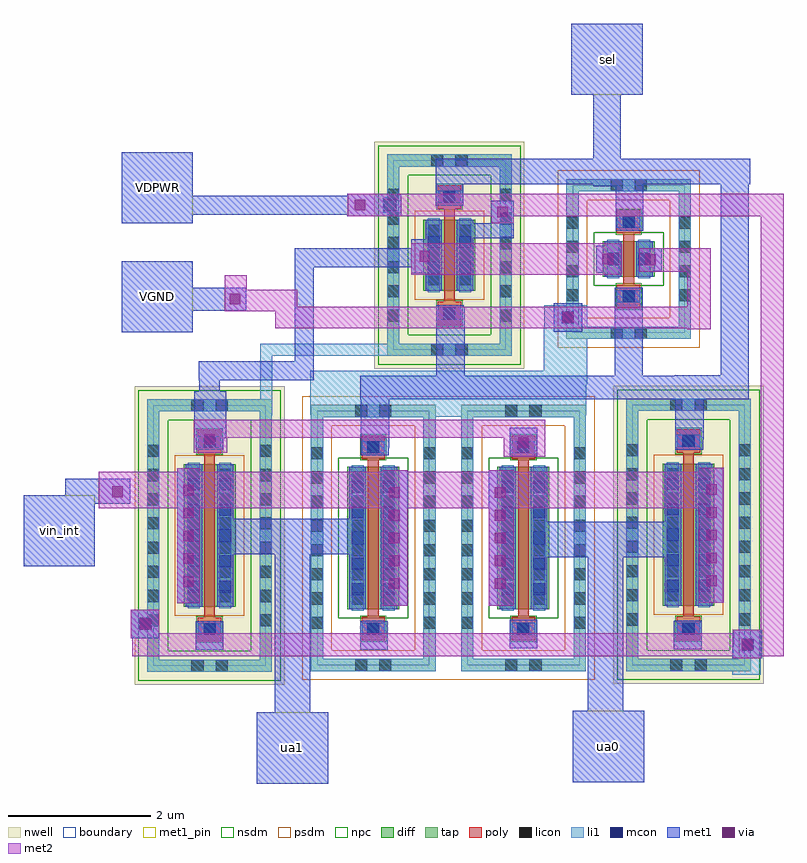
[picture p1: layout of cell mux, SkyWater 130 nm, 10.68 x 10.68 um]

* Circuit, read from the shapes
.subckt mux VDPWR VGND sel ua0 ua1 vin_int
XM1 vin_int sel ua1 VGND sky130_fd_pr__nfet_01v8 w=2 l=0.15
XM2 ua0 sky130_fd_pr__nfet_01v8_744KQH_3/D vin_int VGND sky130_fd_pr__nfet_01v8 w=2 l=0.15
XM3 VGND sel sky130_fd_pr__nfet_01v8_744KQH_3/D VGND sky130_fd_pr__nfet_01v8 w=0.5 l=0.15
XM4 ua1 sky130_fd_pr__nfet_01v8_744KQH_3/D vin_int VDPWR sky130_fd_pr__pfet_01v8 w=2 l=0.15
XM5 VDPWR sel sky130_fd_pr__nfet_01v8_744KQH_3/D VDPWR sky130_fd_pr__pfet_01v8 w=1 l=0.15
XM6 vin_int sel ua0 VDPWR sky130_fd_pr__pfet_01v8 w=2 l=0.15
.ends

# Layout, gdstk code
from math import pi, radians
import gdstk
lib = gdstk.Library(unit=1e-6, precision=1e-09)
def R(c, l, rs):  # rectangles x0, y0, x1, y1
    for r in rs: c.add(gdstk.rectangle(r[:2], r[2:], *l))
def A(c, l, x, y, w, h, nx, ny, dx, dy):  # array of equal rectangles
    R(c, l, [(x+i*dx, y+j*dy, x+i*dx+w, y+j*dy+h) for i in range(nx) for j in range(ny)])
nwell = (64, 20)
diff = (65, 20)
tap = (65, 44)
poly = (66, 20)
licon = (66, 44)
li1 = (67, 20)
mcon = (67, 44)
met1_pin = (68, 16)
met1 = (68, 20)
via = (68, 44)
met2 = (69, 20)
nsdm = (93, 44)
psdm = (94, 20)
npc = (95, 20)
boundary = (235, 4)

sky130_fd_pr__pfet_01v8_ = lib.new_cell('sky130_fd_pr__pfet_01v8_MF9HY2')
R(sky130_fd_pr__pfet_01v8_, nwell, [(-1.055,-1.595,1.055,1.595)])
R(sky130_fd_pr__pfet_01v8_, diff, [(-0.365,-0.5,0.365,0.5)])
R(sky130_fd_pr__pfet_01v8_, tap, [(-0.875,-1.415,0.875,-1.245), (-0.875,-1.245,-0.705,1.245), (0.705,-1.245,0.875,1.245), (-0.875,1.245,0.875,1.415)])
R(sky130_fd_pr__pfet_01v8_, poly, [(-0.165,-0.985,0.165,-0.655), (-0.075,-0.655,0.075,0.655), (-0.165,0.655,0.165,0.985)])
A(sky130_fd_pr__pfet_01v8_, licon, -0.875, -0.935, 0.17, 0.17, 1, 6, 0, 0.34)
A(sky130_fd_pr__pfet_01v8_, licon, 0.705, -0.935, 0.17, 0.17, 1, 6, 0, 0.34)
A(sky130_fd_pr__pfet_01v8_, licon, -0.305, -0.425, 0.17, 0.17, 1, 3, 0, 0.34)
A(sky130_fd_pr__pfet_01v8_, licon, 0.135, -0.425, 0.17, 0.17, 1, 3, 0, 0.34)
R(sky130_fd_pr__pfet_01v8_, licon, [(-0.255,-1.415,-0.085,-1.245), (0.085,-1.415,0.255,-1.245), (-0.085,-0.905,0.085,-0.735), (-0.085,0.735,0.085,0.905), (-0.255,1.245,-0.085,1.415), (0.085,1.245,0.255,1.415)])
R(sky130_fd_pr__pfet_01v8_, li1, [(-0.875,-1.415,0.875,-1.245), (-0.875,-1.245,-0.705,1.245), (0.705,-1.245,0.875,1.245), (-0.165,-0.905,0.165,-0.735), (-0.305,-0.52,-0.135,0.52), (0.135,-0.52,0.305,0.52), (-0.165,0.735,0.165,0.905), (-0.875,1.245,0.875,1.415)])
R(sky130_fd_pr__pfet_01v8_, mcon, [(-0.085,-0.905,0.085,-0.735), (-0.305,-0.265,-0.135,-0.095), (0.135,-0.265,0.305,-0.095), (-0.305,0.095,-0.135,0.265), (0.135,0.095,0.305,0.265), (-0.085,0.735,0.085,0.905)])
R(sky130_fd_pr__pfet_01v8_, met1, [(-0.145,-0.935,0.145,-0.705), (-0.335,-0.5,-0.105,0.5), (0.105,-0.5,0.335,0.5), (-0.145,0.705,0.145,0.935)])
R(sky130_fd_pr__pfet_01v8_, nsdm, [(-1,-1.54,1,-1.12), (-1,-1.12,-0.58,1.12), (0.58,-1.12,1,1.12), (-1,1.12,1,1.54)])
R(sky130_fd_pr__pfet_01v8_, psdm, [(-0.49,-0.625,0.49,0.625)])
R(sky130_fd_pr__pfet_01v8_, npc, [(-0.185,-1.005,0.185,-0.635), (-0.185,0.635,0.185,1.005)])
R(sky130_fd_pr__pfet_01v8_, boundary, [(-0.79,-1.33,0.79,1.33)])
sky130_fd_pr__pfet_01v8_.add(gdstk.Label('B', (0,-1.33), layer=67, texttype=5))
sky130_fd_pr__pfet_01v8_.add(gdstk.Label('D', (-0.22,0), layer=67, texttype=5))
sky130_fd_pr__pfet_01v8_.add(gdstk.Label('S', (0.22,0), layer=67, texttype=5))
sky130_fd_pr__pfet_01v8_.add(gdstk.Label('G', (0,0.82), layer=67, texttype=5))

c_sky130_fd_pr__pfet_01v8_ = lib.new_cell('sky130_fd_pr__pfet_01v8_2HL26M')
R(c_sky130_fd_pr__pfet_01v8_, nwell, [(-1.055,-2.095,1.055,2.095)])
R(c_sky130_fd_pr__pfet_01v8_, diff, [(-0.365,-1,0.365,1)])
R(c_sky130_fd_pr__pfet_01v8_, tap, [(-0.875,-1.915,0.875,-1.745), (-0.875,-1.745,-0.705,1.745), (0.705,-1.745,0.875,1.745), (-0.875,1.745,0.875,1.915)])
R(c_sky130_fd_pr__pfet_01v8_, poly, [(-0.165,-1.485,0.165,-1.155), (-0.075,-1.155,0.075,1.155), (-0.165,1.155,0.165,1.485)])
A(c_sky130_fd_pr__pfet_01v8_, licon, -0.875, -1.275, 0.17, 0.17, 1, 8, 0, 0.34)
A(c_sky130_fd_pr__pfet_01v8_, licon, 0.705, -1.275, 0.17, 0.17, 1, 8, 0, 0.34)
A(c_sky130_fd_pr__pfet_01v8_, licon, -0.305, -0.935, 0.17, 0.17, 1, 6, 0, 0.34)
A(c_sky130_fd_pr__pfet_01v8_, licon, 0.135, -0.935, 0.17, 0.17, 1, 6, 0, 0.34)
R(c_sky130_fd_pr__pfet_01v8_, licon, [(-0.255,-1.915,-0.085,-1.745), (0.085,-1.915,0.255,-1.745), (-0.085,-1.405,0.085,-1.235), (-0.085,1.235,0.085,1.405), (-0.255,1.745,-0.085,1.915), (0.085,1.745,0.255,1.915)])
R(c_sky130_fd_pr__pfet_01v8_, li1, [(-0.875,-1.915,0.875,-1.745), (-0.875,-1.745,-0.705,1.745), (0.705,-1.745,0.875,1.745), (-0.165,-1.405,0.165,-1.235), (-0.305,-1.02,-0.135,1.02), (0.135,-1.02,0.305,1.02), (-0.165,1.235,0.165,1.405), (-0.875,1.745,0.875,1.915)])
A(c_sky130_fd_pr__pfet_01v8_, mcon, -0.305, -0.805, 0.17, 0.17, 1, 5, 0, 0.36)
A(c_sky130_fd_pr__pfet_01v8_, mcon, 0.135, -0.805, 0.17, 0.17, 1, 5, 0, 0.36)
R(c_sky130_fd_pr__pfet_01v8_, mcon, [(-0.085,-1.405,0.085,-1.235), (-0.085,1.235,0.085,1.405)])
R(c_sky130_fd_pr__pfet_01v8_, met1, [(-0.145,-1.435,0.145,-1.205), (-0.335,-1,-0.105,1), (0.105,-1,0.335,1), (-0.145,1.205,0.145,1.435)])
R(c_sky130_fd_pr__pfet_01v8_, nsdm, [(-1,-2.04,1,-1.62), (-1,-1.62,-0.58,1.62), (0.58,-1.62,1,1.62), (-1,1.62,1,2.04)])
R(c_sky130_fd_pr__pfet_01v8_, psdm, [(-0.49,-1.125,0.49,1.125)])
R(c_sky130_fd_pr__pfet_01v8_, npc, [(-0.185,-1.505,0.185,-1.135), (-0.185,1.135,0.185,1.505)])
R(c_sky130_fd_pr__pfet_01v8_, boundary, [(-0.79,-1.83,0.79,1.83)])
c_sky130_fd_pr__pfet_01v8_.add(gdstk.Label('B', (0,-1.83), layer=67, texttype=5))
c_sky130_fd_pr__pfet_01v8_.add(gdstk.Label('D', (-0.22,0), layer=67, texttype=5))
c_sky130_fd_pr__pfet_01v8_.add(gdstk.Label('S', (0.22,0), layer=67, texttype=5))
c_sky130_fd_pr__pfet_01v8_.add(gdstk.Label('G', (0,1.32), layer=67, texttype=5))

sky130_fd_pr__nfet_01v8_ = lib.new_cell('sky130_fd_pr__nfet_01v8_744KQH')
R(sky130_fd_pr__nfet_01v8_, diff, [(-0.365,-0.25,0.365,0.25)])
R(sky130_fd_pr__nfet_01v8_, tap, [(-0.875,-1.12,0.875,-0.95), (-0.875,-0.95,-0.705,0.95), (0.705,-0.95,0.875,0.95), (-0.875,0.95,0.875,1.12)])
R(sky130_fd_pr__nfet_01v8_, poly, [(-0.165,-0.69,0.165,-0.36), (-0.075,-0.36,0.075,0.36), (-0.165,0.36,0.165,0.69)])
A(sky130_fd_pr__nfet_01v8_, licon, -0.875, -0.595, 0.17, 0.17, 1, 4, 0, 0.34)
A(sky130_fd_pr__nfet_01v8_, licon, 0.705, -0.595, 0.17, 0.17, 1, 4, 0, 0.34)
R(sky130_fd_pr__nfet_01v8_, licon, [(-0.255,-1.12,-0.085,-0.95), (0.085,-1.12,0.255,-0.95), (-0.085,-0.61,0.085,-0.44), (-0.305,-0.085,-0.135,0.085), (0.135,-0.085,0.305,0.085), (-0.085,0.44,0.085,0.61), (-0.255,0.95,-0.085,1.12), (0.085,0.95,0.255,1.12)])
R(sky130_fd_pr__nfet_01v8_, li1, [(-0.875,-1.12,0.875,-0.95), (-0.875,-0.95,-0.705,0.95), (0.705,-0.95,0.875,0.95), (-0.165,-0.61,0.165,-0.44), (-0.305,-0.27,-0.135,0.27), (0.135,-0.27,0.305,0.27), (-0.165,0.44,0.165,0.61), (-0.875,0.95,0.875,1.12)])
R(sky130_fd_pr__nfet_01v8_, mcon, [(-0.085,-0.61,0.085,-0.44), (-0.305,-0.085,-0.135,0.085), (0.135,-0.085,0.305,0.085), (-0.085,0.44,0.085,0.61)])
R(sky130_fd_pr__nfet_01v8_, met1, [(-0.145,-0.64,0.145,-0.41), (-0.335,-0.25,-0.105,0.25), (0.105,-0.25,0.335,0.25), (-0.145,0.41,0.145,0.64)])
R(sky130_fd_pr__nfet_01v8_, nsdm, [(-0.49,-0.375,0.49,0.375)])
R(sky130_fd_pr__nfet_01v8_, psdm, [(-1,-1.245,1,-0.825), (-1,-0.825,-0.58,0.825), (0.58,-0.825,1,0.825), (-1,0.825,1,1.245)])
R(sky130_fd_pr__nfet_01v8_, npc, [(-0.185,-0.71,0.185,-0.34), (-0.185,0.34,0.185,0.71)])
R(sky130_fd_pr__nfet_01v8_, boundary, [(-0.79,-1.035,0.79,1.035)])
sky130_fd_pr__nfet_01v8_.add(gdstk.Label('B', (0,-1.035), layer=67, texttype=5))
sky130_fd_pr__nfet_01v8_.add(gdstk.Label('D', (-0.22,0), layer=67, texttype=5))
sky130_fd_pr__nfet_01v8_.add(gdstk.Label('S', (0.22,0), layer=67, texttype=5))
sky130_fd_pr__nfet_01v8_.add(gdstk.Label('G', (0,0.525), layer=67, texttype=5))

c_sky130_fd_pr__nfet_01v8_ = lib.new_cell('sky130_fd_pr__nfet_01v8_V4D2ZP')
R(c_sky130_fd_pr__nfet_01v8_, diff, [(-0.365,-1,0.365,1)])
R(c_sky130_fd_pr__nfet_01v8_, tap, [(-0.875,-1.87,0.875,-1.7), (-0.875,-1.7,-0.705,1.7), (0.705,-1.7,0.875,1.7), (-0.875,1.7,0.875,1.87)])
R(c_sky130_fd_pr__nfet_01v8_, poly, [(-0.165,-1.44,0.165,-1.11), (-0.075,-1.11,0.075,1.11), (-0.165,1.11,0.165,1.44)])
A(c_sky130_fd_pr__nfet_01v8_, licon, -0.875, -1.275, 0.17, 0.17, 1, 8, 0, 0.34)
A(c_sky130_fd_pr__nfet_01v8_, licon, 0.705, -1.275, 0.17, 0.17, 1, 8, 0, 0.34)
A(c_sky130_fd_pr__nfet_01v8_, licon, -0.305, -0.935, 0.17, 0.17, 1, 6, 0, 0.34)
A(c_sky130_fd_pr__nfet_01v8_, licon, 0.135, -0.935, 0.17, 0.17, 1, 6, 0, 0.34)
R(c_sky130_fd_pr__nfet_01v8_, licon, [(-0.255,-1.87,-0.085,-1.7), (0.085,-1.87,0.255,-1.7), (-0.085,-1.36,0.085,-1.19), (-0.085,1.19,0.085,1.36), (-0.255,1.7,-0.085,1.87), (0.085,1.7,0.255,1.87)])
R(c_sky130_fd_pr__nfet_01v8_, li1, [(-0.875,-1.87,0.875,-1.7), (-0.875,-1.7,-0.705,1.7), (0.705,-1.7,0.875,1.7), (-0.165,-1.36,0.165,-1.19), (-0.305,-1.02,-0.135,1.02), (0.135,-1.02,0.305,1.02), (-0.165,1.19,0.165,1.36), (-0.875,1.7,0.875,1.87)])
A(c_sky130_fd_pr__nfet_01v8_, mcon, -0.305, -0.805, 0.17, 0.17, 1, 5, 0, 0.36)
A(c_sky130_fd_pr__nfet_01v8_, mcon, 0.135, -0.805, 0.17, 0.17, 1, 5, 0, 0.36)
R(c_sky130_fd_pr__nfet_01v8_, mcon, [(-0.085,-1.36,0.085,-1.19), (-0.085,1.19,0.085,1.36)])
R(c_sky130_fd_pr__nfet_01v8_, met1, [(-0.145,-1.39,0.145,-1.16), (-0.335,-1,-0.105,1), (0.105,-1,0.335,1), (-0.145,1.16,0.145,1.39)])
R(c_sky130_fd_pr__nfet_01v8_, nsdm, [(-0.49,-1.125,0.49,1.125)])
R(c_sky130_fd_pr__nfet_01v8_, psdm, [(-1,-1.995,1,-1.575), (-1,-1.575,-0.58,1.575), (0.58,-1.575,1,1.575), (-1,1.575,1,1.995)])
R(c_sky130_fd_pr__nfet_01v8_, npc, [(-0.185,-1.46,0.185,-1.09), (-0.185,1.09,0.185,1.46)])
R(c_sky130_fd_pr__nfet_01v8_, boundary, [(-0.79,-1.785,0.79,1.785)])
c_sky130_fd_pr__nfet_01v8_.add(gdstk.Label('B', (0,-1.785), layer=67, texttype=5))
c_sky130_fd_pr__nfet_01v8_.add(gdstk.Label('D', (-0.22,0), layer=67, texttype=5))
c_sky130_fd_pr__nfet_01v8_.add(gdstk.Label('S', (0.22,0), layer=67, texttype=5))
c_sky130_fd_pr__nfet_01v8_.add(gdstk.Label('G', (0,1.275), layer=67, texttype=5))

mux = lib.new_cell('mux')
R(mux, li1, [(19.29,-20.47,19.69,-20.24), (19.29,-20.24,19.71,-20.07), (19.31,-20.07,19.71,-19.84), (10.84,-19.96,11.24,-19.56), (14.795,-16.845,17.155,-16.82), (12.655,-16.825,12.825,-15.99), (13.36,-16.82,17.24,-16.39), (19.37,-16.76,19.425,-16.6), (13.36,-16.39,17.25,-16.2), (16.64,-16.2,17.25,-15.59), (12.655,-15.99,14.615,-15.82), (16.65,-15.59,17.25,-15.28), (14.38,-13.98,14.58,-13.76)])
R(mux, mcon, [(19.42,-20.135,19.59,-19.965), (10.96,-19.84,11.13,-19.67), (16.895,-15.535,17.065,-15.365), (14.395,-13.955,14.565,-13.785)])
R(mux, met1_pin, [(12.61,-22,13.61,-21), (17.05,-21.98,18.05,-20.98), (9.33,-18.95,10.33,-17.95), (10.71,-15.66,11.71,-14.66), (10.71,-14.13,11.71,-13.13), (17.03,-12.32,18.03,-11.32)])
R(mux, met1, [(12.61,-22,13.61,-21), (17.05,-21.98,18.05,-20.98), (12.86,-21,13.36,-18.78), (17.26,-20.98,17.76,-18.82), (19.3,-20.24,19.7,-19.84), (11.75,-20.12,12.14,-19.72), (14.06,-20.12,14.45,-19.72), (18.47,-20.11,18.86,-19.71), (16.16,-20.1,16.55,-19.7), (10.84,-19.96,11.24,-19.56), (14.38,-19.5,14.73,-17.6), (15.87,-19.5,16.22,-17.6), (11.49,-19.47,11.81,-17.57), (18.82,-19.46,19.17,-17.56), (9.33,-18.95,10.33,-18.07), (16.62,-18.82,18.44,-18.32), (12.09,-18.78,13.99,-18.28), (9.33,-18.07,10.83,-17.95), (9.92,-17.95,10.83,-17.72), (16.16,-17.4,16.55,-17), (14.07,-17.39,14.46,-17.28), (11.75,-17.31,12.14,-17.15), (18.49,-17.31,18.88,-17.16), (14.07,-17.28,14.47,-16.6), (18.49,-17.16,18.89,-16.6), (11.73,-17.15,12.18,-16.49), (14.06,-16.6,19.52,-16.27), (11.8,-16.49,12.085,-16.335), (11.795,-16.335,13.41,-16.065), (15.13,-16.27,15.53,-15.31), (17.64,-16.27,18.03,-15.03), (18.48,-16.27,19.52,-16.26), (19.13,-16.26,19.52,-13.58), (13.14,-16.065,13.41,-14.745), (10.71,-15.66,11.71,-15.36), (16.78,-15.65,17.18,-15.25), (10.71,-15.36,12.46,-15.03), (15.13,-15.31,15.52,-15.28), (10.71,-15.03,11.71,-14.66), (14.78,-14.83,15.03,-14.75), (17.38,-14.82,17.7,-14.44), (17.98,-14.8,18.3,-14.48), (14.78,-14.75,15.1,-14.745), (13.14,-14.745,15.1,-14.475), (14.78,-14.475,15.1,-14.43), (14.78,-14.43,15.03,-14.35), (15.45,-14.34,16.22,-14.13), (17.65,-14.23,18.04,-13.61), (10.71,-14.13,11.71,-14.01), (15.9,-14.13,16.22,-13.81), (13.88,-14.03,14.64,-14.01), (10.71,-14.01,14.64,-13.74), (15.12,-13.88,15.51,-13.58), (10.71,-13.74,11.71,-13.13), (13.88,-13.74,14.64,-13.71), (17.335,-13.61,18.04,-13.58), (15.12,-13.58,19.54,-13.22), (17.335,-13.22,17.725,-12.32), (17.03,-12.32,18.03,-11.32)])
A(mux, via, 14.465, -19.265, 0.15, 0.15, 1, 5, 0, 0.32)
A(mux, via, 15.955, -19.265, 0.15, 0.15, 1, 5, 0, 0.32)
A(mux, via, 11.575, -19.235, 0.15, 0.15, 1, 5, 0, 0.32)
A(mux, via, 18.925, -19.225, 0.15, 0.15, 1, 5, 0, 0.32)
R(mux, via, [(19.425,-20.12,19.575,-19.97), (10.97,-19.83,11.12,-19.68), (10.575,-17.975,10.725,-17.825), (16.28,-17.285,16.43,-17.135), (11.87,-17.235,12.02,-17.085), (16.905,-15.525,17.055,-15.375), (12.225,-15.265,12.375,-15.115), (18.065,-14.715,18.215,-14.565), (17.465,-14.705,17.615,-14.555), (14.895,-14.665,15.045,-14.515), (15.985,-14.045,16.135,-13.895), (13.985,-13.945,14.135,-13.795)])
R(mux, met2, [(19.3,-20.24,19.7,-20.21), (10.86,-20.21,20.01,-19.96), (10.84,-19.96,20.01,-19.89), (10.84,-19.89,11.24,-19.56), (19.3,-19.89,20.01,-19.84), (19.69,-19.84,20.01,-14.03), (14.38,-19.5,14.73,-18.13), (15.87,-19.5,16.22,-18.13), (11.49,-19.47,11.81,-18.13), (18.82,-19.46,19.17,-18.13), (10.39,-18.13,19.17,-17.62), (11.49,-17.62,11.81,-17.57), (14.38,-17.62,14.73,-17.6), (15.87,-17.62,16.22,-17.6), (18.82,-17.62,19.17,-17.56), (16.08,-17.41,16.66,-17.14), (11.72,-17.35,12.19,-17.14), (11.72,-17.14,16.66,-16.89), (18.66,-15.62,18.985,-15.605), (12.87,-15.605,18.985,-15.365), (12.16,-15.365,18.985,-15.3), (12.16,-15.3,13.175,-15.06), (18.66,-15.3,18.985,-14.81), (12.16,-15.06,12.465,-14.86), (14.78,-14.85,17.74,-14.41), (17.98,-14.81,18.985,-14.48), (15.9,-14.13,16.22,-14.03), (13.89,-14.03,20.01,-13.71)])
R(mux, psdm, [(15.245,-20.545,15.355,-16.555)])
mux.add(gdstk.Reference(sky130_fd_pr__pfet_01v8_, (15.315,-14.575)))
mux.add(gdstk.Reference(c_sky130_fd_pr__pfet_01v8_, (11.945,-18.515)))
mux.add(gdstk.Reference(c_sky130_fd_pr__pfet_01v8_, (18.675,-18.505), rotation=pi))
mux.add(gdstk.Reference(sky130_fd_pr__nfet_01v8_, (17.835,-14.63)))
mux.add(gdstk.Reference(c_sky130_fd_pr__nfet_01v8_, (14.245,-18.55), rotation=pi))
mux.add(gdstk.Reference(c_sky130_fd_pr__nfet_01v8_, (16.355,-18.55)))
mux.add(gdstk.Label('VDPWR', (11.21,-13.63), layer=68, texttype=5))
mux.add(gdstk.Label('VGND', (11.21,-15.16), layer=68, texttype=5))
mux.add(gdstk.Label('ua0', (17.55,-21.48), layer=68, texttype=5))
mux.add(gdstk.Label('ua1', (13.11,-21.5), layer=68, texttype=5))
mux.add(gdstk.Label('sel', (17.53,-11.82), layer=68, texttype=5))
mux.add(gdstk.Label('vin_int', (9.83,-18.45), layer=68, texttype=5))

lib.write_gds('mux.gds')
